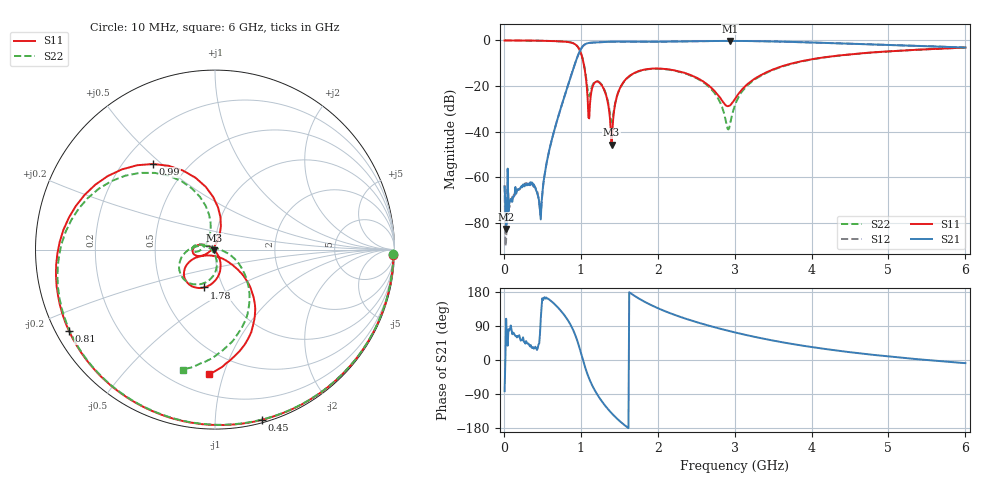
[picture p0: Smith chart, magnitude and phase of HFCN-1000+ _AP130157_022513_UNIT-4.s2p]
!Mini-Circuits Laboratory
!S-Parameters
!Model:HFCN-1000+
!Run/Lot/Date Code: CS0100//N/A
!DATA FOR: UNIT# 4
!Fixture/SN/Due: N/A
!Connection: PORT-1 - pin<1>; PORT-2 - pin<3>
!PORT EXTENSION IS DONE ON TEST BOARD(TB-270)
!Created: 02-25-2013 at 10:37 AM
# MHZ S DB R 50
!Frequency  S11 dB  S11 DEG  S21 dB  S21 DEG  S12 dB  S12 DEG  S22 dB  S22 DEG
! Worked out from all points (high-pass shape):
!   600 points, 10 MHz to 6 GHz, reference 50 ohm
!   highest |S21| = -0.24 dB at 2.94 GHz (marker M1); lowest = -82.7 dB at 30 MHz (marker M2)
!   |S21| within 3 dB of the highest: 1.012 GHz to end of sweep
!   lowest |S11| = -45.7 dB at 1.4 GHz (marker M3), VSWR 1.01, Z = 49.6 - j0.32 ohm
!   |S11| at or under -10 dB: 1.036 GHz to 3.758 GHz (2.722 GHz wide, 114 % of centre)
!   |S22| runs from -39.1 to 0.0 dB; largest |S21 - S12| = 0.0021
!   S11 on the Smith chart (normalised r, x): 10 MHz: 13, -69; 450 MHz: 0.02, -1.32; 810 MHz: 0.04, -0.26; 990 MHz: 0.32, +0.47; 1.78 GHz: 0.82, -0.36; 6 GHz: 0.34, -0.90
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10  -0.05 -1.6  -64.14 -82.2  -63.44 141.1  -0.05 -1.5
30  -0.04 -4.8  -82.74 108.9  -87.46 96.2  -0.05 -4.8
320  -0.08 -52.2  -63.35 43.5  -63.21 40.9  -0.08 -51.2
450  -0.14 -74.5  -68.79 40.7  -69.32 39.3  -0.15 -73.1
810  -0.62 -150.7  -22.20 111.8  -22.21 111.8  -0.61 -147.2
910  -1.39 172.6  -11.72 75.0  -11.72 75.0  -1.36 177.7
990  -4.60 125.9  -4.56 27.6  -4.55 27.5  -4.48 134.3
1010  -6.46 112.1  -3.34 13.3  -3.34 13.2  -6.28 122.0
1100  -33.88 94.8  -1.17 -44.5  -1.17 -44.5  -24.08 129.7
1170  -19.04 -163.0  -0.95 -75.4  -0.95 -75.4  -18.60 -174.1
1300  -21.36 160.9  -0.71 -116.1  -0.71 -116.1  -21.17 160.6
1400  -45.74 -141.4  -0.58 -140.2  -0.58 -140.2  -36.02 -149.2
1530  -19.64 -73.0  -0.54 -165.4  -0.54 -165.4  -19.72 -85.3
1780  -13.20 -105.8  -0.60 159.3  -0.60 159.2  -13.30 -116.1
2010  -12.34 -127.4  -0.59 136.0  -0.59 136.0  -12.44 -139.0
2620  -18.63 -157.3  -0.31 93.1  -0.31 93.1  -19.04 171.9
2940  -28.52 -85.3  -0.24 75.9  -0.24 75.9  -36.76 33.2
3010  -25.42 -56.8  -0.25 72.5  -0.25 72.4  -27.96 -6.5
3310  -15.81 -41.1  -0.35 59.0  -0.34 58.9  -16.14 -30.9
4010  -8.23 -54.8  -0.93 33.9  -0.93 33.9  -8.32 -61.1
5010  -4.79 -75.6  -2.01 9.1  -2.00 9.1  -4.81 -87.3
6000  -3.17 -92.7  -3.14 -8.3  -3.14 -8.3  -3.17 -104.8
